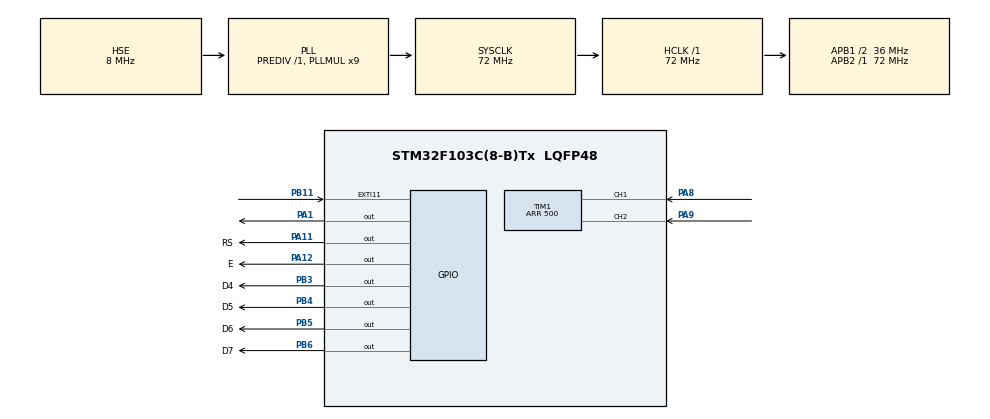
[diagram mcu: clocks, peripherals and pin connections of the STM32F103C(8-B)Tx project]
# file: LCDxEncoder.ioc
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Mcu.Family=STM32F1
Mcu.Name=STM32F103C(8-B)Tx
Mcu.Package=LQFP48
NVIC.EXTI15_10_IRQn=true\:0\:0\:false\:false\:true\:true\:true
NVIC.PriorityGroup=NVIC_PRIORITYGROUP_4
NVIC.TIM1_CC_IRQn=true\:0\:0\:false\:false\:true\:true\:true
NVIC.TIM1_TRG_COM_IRQn=true\:0\:0\:false\:false\:true\:true\:true
NVIC.TIM1_UP_IRQn=true\:0\:0\:false\:false\:true\:true\:true
PA1.Signal=GPIO_Output
PA11.GPIO_Label=RS
PA11.Signal=GPIO_Output
PA12.GPIO_Label=E
PA12.Signal=GPIO_Output
PA13.Mode=Serial_Wire
PA13.Signal=SYS_JTMS-SWDIO
PA14.Mode=Serial_Wire
PA14.Signal=SYS_JTCK-SWCLK
PA8.Signal=S_TIM1_CH1
PA9.Signal=S_TIM1_CH2
PB11.GPIO_ModeDefaultEXTI=GPIO_MODE_IT_FALLING
PB11.GPIO_PuPd=GPIO_PULLDOWN
PB11.Signal=GPXTI11
PB3.GPIO_Label=D4
PB3.GPIO_Speed=GPIO_SPEED_FREQ_MEDIUM
PB3.Signal=GPIO_Output
PB4.GPIO_Label=D5
PB4.GPIO_Speed=GPIO_SPEED_FREQ_MEDIUM
PB4.Signal=GPIO_Output
PB5.GPIO_Label=D6
PB5.GPIO_Speed=GPIO_SPEED_FREQ_MEDIUM
PB5.Signal=GPIO_Output
PB6.GPIO_Label=D7
PB6.GPIO_Speed=GPIO_SPEED_FREQ_MEDIUM
PB6.Signal=GPIO_Output
PD0-OSC_IN.Mode=HSE-External-Oscillator
PD0-OSC_IN.Signal=RCC_OSC_IN
PD1-OSC_OUT.Mode=HSE-External-Oscillator
PD1-OSC_OUT.Signal=RCC_OSC_OUT
ProjectManager.HeapSize=0x200
ProjectManager.StackSize=0x400
ProjectManager.TargetToolchain=MDK-ARM V5.27
RCC.AHBFreq_Value=72000000
RCC.APB1CLKDivider=RCC_HCLK_DIV2
RCC.APB1Freq_Value=36000000
RCC.APB1TimFreq_Value=72000000
RCC.APB2Freq_Value=72000000
RCC.APB2TimFreq_Value=72000000
RCC.HCLKFreq_Value=72000000
RCC.PLLMUL=RCC_PLL_MUL9
RCC.PLLSourceVirtual=RCC_PLLSOURCE_HSE
RCC.SYSCLKFreq_VALUE=72000000
RCC.SYSCLKSource=RCC_SYSCLKSOURCE_PLLCLK
RCC.USBFreq_Value=72000000
SH.S_TIM1_CH1.0=TIM1_CH1,Encoder_Interface
SH.S_TIM1_CH2.0=TIM1_CH2,Encoder_Interface
TIM1.CounterMode=TIM_COUNTERMODE_CENTERALIGNED1
TIM1.IC1Filter=2
TIM1.IC2Filter=2
TIM1.Period=500
board=custom

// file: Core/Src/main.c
/* USER CODE BEGIN Header */
/**
  ******************************************************************************
  * @file           : main.c
  * @brief          : Main program body
  ******************************************************************************
  * @attention
  *
  * <h2><center>&copy; Copyright (c) 2020 STMicroelectronics.
  * All rights reserved.</center></h2>
  *
  * This software component is licensed by ST under BSD 3-Clause license,
  * the "License"; You may not use this file except in compliance with the
  * License. You may obtain a copy of the License at:
  *                        opensource.org/licenses/BSD-3-Clause
  *
  ******************************************************************************
  */
/* USER CODE END Header */
#include "main.h"

/* USER CODE BEGIN Includes */
#include "lcd16x2.h"
/* USER CODE END Includes */

TIM_HandleTypeDef htim1;

/* USER CODE BEGIN PV */
uint16_t count = 0;
uint16_t butt_count = 0;
uint16_t progtime;
/*FLAGS*/
uint16_t pulse_F = 0;
uint16_t freq_F = 0;
uint16_t run_F = 0;
uint16_t Enc_Counter = 0;
float frequency = 0;
uint16_t status = 0;
uint16_t i = 0;
uint16_t  clear_count = 0;
uint16_t clear_frequency = 0;
uint8_t valve = 200;
/* USER CODE END PV */

void SystemClock_Config(void);
static void MX_GPIO_Init(void);
static void MX_TIM1_Init(void);

int main(void)
{

  /* MCU Configuration--------------------------------------------------------*/

  /* Reset of all peripherals, Initializes the Flash interface and the Systick. */
  HAL_Init();

  /* Configure the system clock */
  SystemClock_Config();

  /* Initialize all configured peripherals */
  MX_GPIO_Init();
  MX_TIM1_Init();
  /* USER CODE BEGIN 2 */
	HAL_TIM_Encoder_Start(&htim1, TIM_CHANNEL_1);
  lcd16x2_init_4bits(RS_GPIO_Port, RS_Pin, E_Pin,
      D4_GPIO_Port, D4_Pin, D5_Pin, D6_Pin, D7_Pin);
	lcd16x2_cursorShow(0);
	progtime = HAL_GetTick();
  /* USER CODE END 2 */

  /* Infinite loop */
  /* USER CODE BEGIN WHILE */
  while (1)
  {
		lcd16x2_clear();
		count = 0;
		frequency = 1;

    /* USER CODE END WHILE */

    /* USER CODE BEGIN 3 */
		if(butt_count == 0)
			{
			HAL_GetTick();
			i = 0;
			clear_count = 0;
			status = 0;
			count = TIM1 -> CNT;
			lcd16x2_1stLine();
			lcd16x2_printf("pulse num = %d", count);
			HAL_Delay(200);
			}
		else if (butt_count == 1)
			{
				HAL_GetTick();
				status = 1;
				if (clear_count == 0)
					{
					TIM1 -> CNT = 0;
					clear_count = 1;
					}
				else
				{
					frequency += TIM1 -> CNT;
					frequency /= 10;
					lcd16x2_clear();
					lcd16x2_1stLine();
					lcd16x2_printf("freq = %.1f", frequency);
					HAL_Delay(500);
				}
			}

		else if (butt_count == 2)
			{
			HAL_GetTick();
			status = 2;
				lcd16x2_1stLine();
				lcd16x2_printf("freq = %.1f", frequency);
				lcd16x2_2ndLine();
				lcd16x2_printf("pulse num = %d", count);
				HAL_Delay(500);
			}
			else if (butt_count == 3)
			status = 3;
			HAL_GetTick();
			{	while (butt_count == 3 && i != count)
				{
				lcd16x2_clear();
				lcd16x2_1stLine();
				lcd16x2_printf("pulse number %d", i);
				HAL_GPIO_WritePin(GPIOA, GPIO_PIN_1, GPIO_PIN_RESET);
				HAL_Delay(valve);
				HAL_GPIO_WritePin(GPIOA, GPIO_PIN_1, GPIO_PIN_SET);
				HAL_Delay((1000/frequency)-valve);
				i++;
				if(i == count){
					TIM1 -> CNT = 0;
					lcd16x2_setCursor(0,0);
					lcd16x2_printf("Press Any Key To");
					lcd16x2_setCursor(1,0);
					lcd16x2_printf("Set A Pulse Num");
					while(butt_count == 3){
					HAL_Delay(500);}
				}
			}
		}
  }
  /* USER CODE END 3 */
}

void SystemClock_Config(void)
{
  RCC_OscInitTypeDef RCC_OscInitStruct = {0};
  RCC_ClkInitTypeDef RCC_ClkInitStruct = {0};

  /** Initializes the RCC Oscillators according to the specified parameters
  * in the RCC_OscInitTypeDef structure.
  */
  RCC_OscInitStruct.OscillatorType = RCC_OSCILLATORTYPE_HSE;
  RCC_OscInitStruct.HSEState = RCC_HSE_ON;
  RCC_OscInitStruct.HSEPredivValue = RCC_HSE_PREDIV_DIV1;
  RCC_OscInitStruct.HSIState = RCC_HSI_ON;
  RCC_OscInitStruct.PLL.PLLState = RCC_PLL_ON;
  RCC_OscInitStruct.PLL.PLLSource = RCC_PLLSOURCE_HSE;
  RCC_OscInitStruct.PLL.PLLMUL = RCC_PLL_MUL9;
  if (HAL_RCC_OscConfig(&RCC_OscInitStruct) != HAL_OK)
  {
    Error_Handler();
  }
  /** Initializes the CPU, AHB and APB buses clocks
  */
  RCC_ClkInitStruct.ClockType = RCC_CLOCKTYPE_HCLK|RCC_CLOCKTYPE_SYSCLK
                              |RCC_CLOCKTYPE_PCLK1|RCC_CLOCKTYPE_PCLK2;
  RCC_ClkInitStruct.SYSCLKSource = RCC_SYSCLKSOURCE_PLLCLK;
  RCC_ClkInitStruct.AHBCLKDivider = RCC_SYSCLK_DIV1;
  RCC_ClkInitStruct.APB1CLKDivider = RCC_HCLK_DIV2;
  RCC_ClkInitStruct.APB2CLKDivider = RCC_HCLK_DIV1;

  if (HAL_RCC_ClockConfig(&RCC_ClkInitStruct, FLASH_LATENCY_2) != HAL_OK)
  {
    Error_Handler();
  }
}

static void MX_TIM1_Init(void)
{

  TIM_Encoder_InitTypeDef sConfig = {0};
  TIM_MasterConfigTypeDef sMasterConfig = {0};

  htim1.Instance = TIM1;
  htim1.Init.Prescaler = 0;
  htim1.Init.CounterMode = TIM_COUNTERMODE_CENTERALIGNED1;
  htim1.Init.Period = 500;
  htim1.Init.ClockDivision = TIM_CLOCKDIVISION_DIV1;
  htim1.Init.RepetitionCounter = 0;
  htim1.Init.AutoReloadPreload = TIM_AUTORELOAD_PRELOAD_DISABLE;
  sConfig.EncoderMode = TIM_ENCODERMODE_TI1;
  sConfig.IC1Polarity = TIM_ICPOLARITY_RISING;
  sConfig.IC1Selection = TIM_ICSELECTION_DIRECTTI;
  sConfig.IC1Prescaler = TIM_ICPSC_DIV1;
  sConfig.IC1Filter = 2;
  sConfig.IC2Polarity = TIM_ICPOLARITY_RISING;
  sConfig.IC2Selection = TIM_ICSELECTION_DIRECTTI;
  sConfig.IC2Prescaler = TIM_ICPSC_DIV1;
  sConfig.IC2Filter = 2;
  if (HAL_TIM_Encoder_Init(&htim1, &sConfig) != HAL_OK)
  {
    Error_Handler();
  }
  sMasterConfig.MasterOutputTrigger = TIM_TRGO_RESET;
  sMasterConfig.MasterSlaveMode = TIM_MASTERSLAVEMODE_DISABLE;
  if (HAL_TIMEx_MasterConfigSynchronization(&htim1, &sMasterConfig) != HAL_OK)
  {
    Error_Handler();
  }

}

static void MX_GPIO_Init(void)
{
  GPIO_InitTypeDef GPIO_InitStruct = {0};

  /* GPIO Ports Clock Enable */
  __HAL_RCC_GPIOD_CLK_ENABLE();
  __HAL_RCC_GPIOA_CLK_ENABLE();
  __HAL_RCC_GPIOB_CLK_ENABLE();

  /*Configure GPIO pin Output Level */
  HAL_GPIO_WritePin(GPIOA, GPIO_PIN_1|RS_Pin|E_Pin, GPIO_PIN_RESET);

  /*Configure GPIO pin Output Level */
  HAL_GPIO_WritePin(GPIOB, D4_Pin|D5_Pin|D6_Pin|D7_Pin, GPIO_PIN_RESET);

  /*Configure GPIO pins : PA1 RS_Pin E_Pin */
  GPIO_InitStruct.Pin = GPIO_PIN_1|RS_Pin|E_Pin;
  GPIO_InitStruct.Mode = GPIO_MODE_OUTPUT_PP;
  GPIO_InitStruct.Pull = GPIO_NOPULL;
  GPIO_InitStruct.Speed = GPIO_SPEED_FREQ_LOW;
  HAL_GPIO_Init(GPIOA, &GPIO_InitStruct);

  /*Configure GPIO pin : PB11 */
  GPIO_InitStruct.Pin = GPIO_PIN_11;
  GPIO_InitStruct.Mode = GPIO_MODE_IT_FALLING;
  GPIO_InitStruct.Pull = GPIO_PULLDOWN;
  HAL_GPIO_Init(GPIOB, &GPIO_InitStruct);

  /*Configure GPIO pins : D4_Pin D5_Pin D6_Pin D7_Pin */
  GPIO_InitStruct.Pin = D4_Pin|D5_Pin|D6_Pin|D7_Pin;
  GPIO_InitStruct.Mode = GPIO_MODE_OUTPUT_PP;
  GPIO_InitStruct.Pull = GPIO_NOPULL;
  GPIO_InitStruct.Speed = GPIO_SPEED_FREQ_MEDIUM;
  HAL_GPIO_Init(GPIOB, &GPIO_InitStruct);

  /* EXTI interrupt init*/
  HAL_NVIC_SetPriority(EXTI15_10_IRQn, 0, 0);
  HAL_NVIC_EnableIRQ(EXTI15_10_IRQn);

}

/* USER CODE BEGIN 4 */
void HAL_TIM_IC_CaptureCallback(TIM_HandleTypeDef *htim)
{
        if(htim->Instance == TIM1)
        {
                uint32_t count = __HAL_TIM_GET_COUNTER(htim);
                uint8_t direct = __HAL_TIM_IS_TIM_COUNTING_DOWN(htim);
}
}
/* USER CODE END 4 */

void Error_Handler(void)
{
}

/************************ (C) COPYRIGHT STMicroelectronics *****END OF FILE****/
